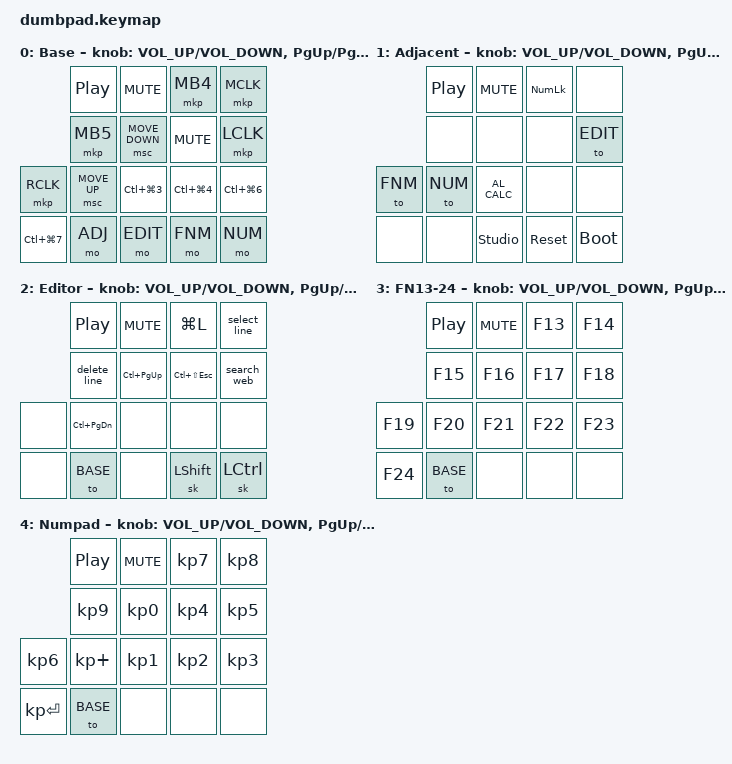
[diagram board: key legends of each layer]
// This file was generated from a template. Edit it to match your keyboard.
// See https://zmk.dev/docs/development/hardware-integration/new-shield for more instructions.

#define ZMK_POINTING_DEFAULT_SCRL_VAL 25

#include <behaviors.dtsi>
#include <dt-bindings/zmk/keys.h>
#include <dt-bindings/zmk/pointing.h>

#define BASE 0
#define ADJ 1
#define EDIT 2
#define FNM 3
#define NUM 4

&msc {
    acceleration-exponent = <1>;
    time-to-max-speed-ms = <500>;
};

/ {

    macros {
        select_line: select_line {
        compatible = "zmk,behavior-macro";
        #binding-cells = <0>;
        bindings
            = <&macro_tap &kp HOME>
            , <&macro_tap &kp LS(END)>
            ;
        };

        delete_line: delete_line {
        compatible = "zmk,behavior-macro";
        #binding-cells = <0>;
        bindings
            = <&macro_tap &kp HOME>
            , <&macro_tap &kp LS(END)>
            , <&macro_tap &kp BSPC>
            ;
        };

        search_web: search_web {
        compatible = "zmk,behavior-macro";
        #binding-cells = <0>;
        bindings
            = <&macro_tap   &kp K_APP>
            , <&macro_tap   &kp S>
            ;
        };
    };

    // Define a default keymap here.
    // See https://zmk.dev/docs/development/hardware-integration/new-shield#default-keymap.
    keymap {
        compatible = "zmk,keymap";

        default_layer {
            display-name = "Base";
            bindings = <
                &kp C_PP       &kp C_MUTE
                &mkp MB4       &mkp MCLK      &mkp MB5          &msc MOVE_DOWN
                &kp C_MUTE     &mkp LCLK      &mkp RCLK         &msc MOVE_UP
                &kp LC(LG(N3)) &kp LC(LG(N4)) &kp LC(LG(N6))    &kp LC(LG(N7))
                &mo ADJ        &mo EDIT       &mo FNM           &mo NUM
            >;

            sensor-bindings = <&inc_dec_kp C_VOLUME_UP C_VOLUME_DOWN &inc_dec_kp PG_UP PG_DN>;
        };

        adjacent {
            display-name = "Adjacent";
            bindings = <
                &kp C_PP       &kp C_MUTE
                &kp KP_NUM     &none           &none       &none
                &none          &to EDIT        &to FNM     &to NUM
                &kp C_AL_CALC  &none           &none       &none
                &none          &studio_unlock  &sys_reset  &bootloader
            >;

            sensor-bindings = <&inc_dec_kp C_VOLUME_UP C_VOLUME_DOWN &inc_dec_kp PG_UP PG_DN>;
        };

        editor {
            display-name = "Editor";
            bindings = <
                &kp C_PP        &kp C_MUTE
                &kp LG(L)       &select_line   &delete_line    &kp LC(PG_UP)
                &kp LC(LS(ESC)) &search_web    &none           &kp LC(PG_DN)
                &none           &none          &none           &none
                &to BASE        &none          &sk LSHIFT      &sk LCTRL
            >;

            sensor-bindings = <&inc_dec_kp C_VOLUME_UP C_VOLUME_DOWN &inc_dec_kp PG_UP PG_DN>;
        };

        fnmore {
            display-name = "FN13-24";
            bindings = <
                &kp C_PP        &kp C_MUTE
                &kp F13         &kp F14   &kp F15   &kp F16
                &kp F17         &kp F18   &kp F19   &kp F20
                &kp F21         &kp F22   &kp F23   &kp F24
                &to BASE        &none     &none     &none
            >;

            sensor-bindings = <&inc_dec_kp C_VOLUME_UP C_VOLUME_DOWN &inc_dec_kp PG_UP PG_DN>;
        };

        numpad {
            display-name = "Numpad";
            bindings = <
                &kp C_PP        &kp C_MUTE
                &kp KP_N7       &kp KP_N8  &kp KP_N9  &kp KP_N0
                &kp KP_N4       &kp KP_N5  &kp KP_N6  &kp KP_PLUS
                &kp KP_N1       &kp KP_N2  &kp KP_N3  &kp KP_ENTER
                &to BASE        &none          &none           &none
            >;

            sensor-bindings = <&inc_dec_kp C_VOLUME_UP C_VOLUME_DOWN &inc_dec_kp PG_UP PG_DN>;
        };
    };
};
